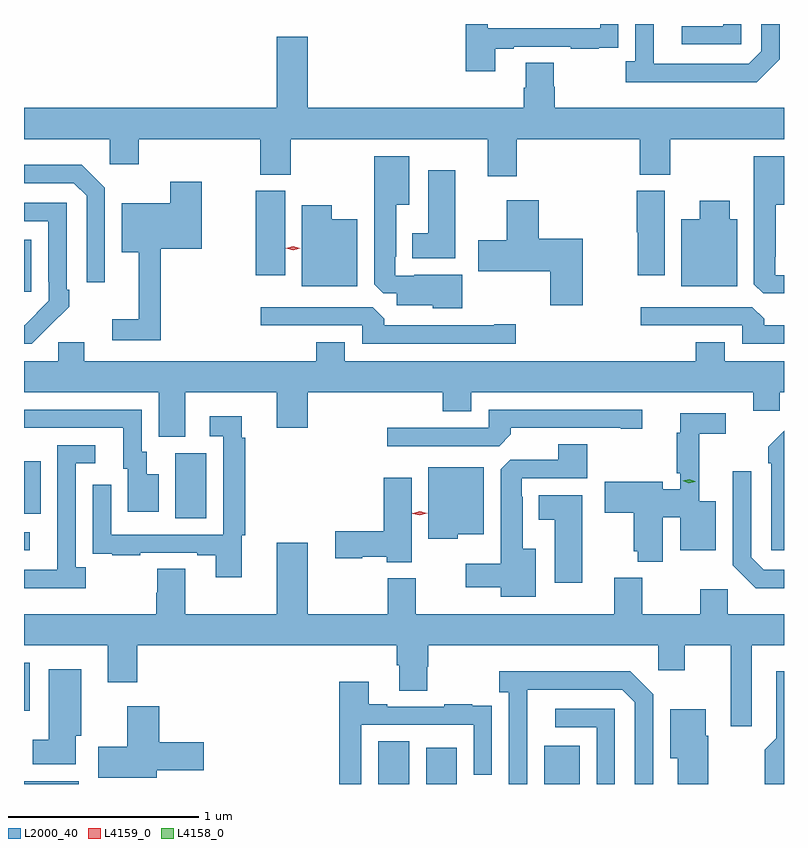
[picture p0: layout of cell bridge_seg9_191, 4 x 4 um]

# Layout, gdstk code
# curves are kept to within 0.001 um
import gdstk
lib = gdstk.Library(unit=1e-6, precision=1e-09)
def R(c, l, rs):  # rectangles x0, y0, x1, y1
    for r in rs: c.add(gdstk.rectangle(r[:2], r[2:], *l))
def P(c, l, *ps):  # polygons
    for p in ps: c.add(gdstk.Polygon(p, *l))
L2000_40 = (2000, 40)
L4158_0 = (4158, 0)
L4159_0 = (4159, 0)

bridge_seg9_191 = lib.new_cell('bridge_seg9_191')
R(bridge_seg9_191, L2000_40, [(211.63,1201.018,211.918,1201.032), (213.494,1201.018,213.658,1201.244), (213.746,1201.018,213.907,1201.21), (214.367,1201.018,214.555,1201.219), (211.63,1201.403,211.66,1201.657), (211.63,1202.247,211.66,1202.343), (212.426,1202.416,212.59,1202.76), (211.63,1202.441,211.717,1202.716), (211.63,1203.609,211.669,1203.883), (212.849,1203.696,213.004,1204.14)])
P(bridge_seg9_191, L2000_40, [(214.111,1204.887),(214.207,1204.887),(214.207,1204.899),(214.507,1204.899),(214.507,1204.887),(214.655,1204.887),(214.655,1204.893),(214.757,1204.893),(214.757,1205.002),(214.758,1205.002),(214.758,1205.018),(214.662,1205.018),(214.662,1204.995),(214.071,1204.995),(214.071,1205.018),(213.955,1205.018),(213.955,1204.77),(214.111,1204.77)],
  [(215.607,1204.833),(215.607,1205.018),(215.511,1205.018),(215.511,1204.875),(215.445,1204.809),(214.945,1204.809),(214.944,1205.018),(214.848,1205.018),(214.848,1204.822),(214.797,1204.822),(214.797,1204.712),(215.486,1204.712)],
  [(215.406,1205.018),(215.31,1205.018),(215.31,1205.007),(215.091,1205.007),(215.091,1204.911),(215.406,1204.911)],
  [(214.223,1204.412),(214.871,1204.412),(214.871,1204.225),(215.031,1204.225),(215.031,1204.412),(215.63,1204.412),(215.63,1204.576),(214.424,1204.576),(214.424,1204.689),(214.419,1204.689),(214.419,1204.814),(214.271,1204.814),(214.271,1204.682),(214.259,1204.682),(214.259,1204.576),(213.124,1204.576),(213.124,1204.951),(212.96,1204.951),(212.96,1204.576),(211.63,1204.576),(211.63,1204.412),(212.082,1204.412),(212.082,1204.281),(212.234,1204.281),(212.234,1204.412),(212.873,1204.412),(212.873,1204.225),(213.033,1204.225),(213.033,1204.412),(214.07,1204.412),(214.07,1204.218),(214.223,1204.218)],
  [(215.63,1203.696),(215.583,1203.696),(215.583,1203.793),(215.587,1203.793),(215.587,1204.067),(215.63,1204.067),(215.63,1204.321),(215.471,1204.321),(215.471,1203.649),(215.52,1203.6),(215.63,1203.6)],
  [(213.937,1203.697),(213.685,1203.697),(213.685,1203.693),(213.585,1203.693),(213.585,1203.793),(213.589,1203.793),(213.589,1204.067),(213.658,1204.067),(213.658,1204.321),(213.473,1204.321),(213.473,1203.649),(213.522,1203.6),(213.593,1203.6),(213.593,1203.539),(213.78,1203.539),(213.78,1203.521),(213.937,1203.521)],
  [(212.055,1204.155),(211.934,1204.276),(211.63,1204.276),(211.63,1204.179),(211.893,1204.179),(211.959,1204.113),(211.959,1203.66),(212.055,1203.66)],
  [(213.901,1204.249),(213.758,1204.249),(213.758,1203.916),(213.674,1203.916),(213.674,1203.785),(213.901,1203.785)],
  [(212.351,1203.836),(212.566,1203.836),(212.566,1204.189),(212.401,1204.189),(212.401,1204.075),(212.144,1204.075),(212.144,1203.818),(212.234,1203.818),(212.234,1203.463),(212.094,1203.463),(212.094,1203.354),(212.351,1203.354)],
  [(215.002,1204.14),(214.856,1204.14),(214.856,1203.921),(214.861,1203.921),(214.861,1203.696),(215.002,1203.696)],
  [(214.572,1203.889),(214.34,1203.889),(214.34,1204.09),(214.172,1204.09),(214.172,1203.879),(214.02,1203.879),(214.02,1203.716),(214.399,1203.716),(214.399,1203.537),(214.572,1203.537)],
  [(215.383,1203.991),(215.344,1203.991),(215.344,1204.087),(215.186,1204.087),(215.186,1203.991),(215.09,1203.991),(215.09,1203.638),(215.383,1203.638)],
  [(211.763,1203.427),(211.764,1203.426),(211.869,1203.531),(211.869,1203.619),(211.854,1203.619),(211.854,1204.077),(211.63,1204.077),(211.63,1203.981),(211.758,1203.981),(211.758,1203.661),(211.761,1203.661),(211.761,1203.561),(211.633,1203.433),(211.63,1203.433),(211.63,1203.336),(211.672,1203.336)],
  [(213.385,1203.991),(213.25,1203.991),(213.25,1204.063),(213.092,1204.063),(213.092,1203.638),(213.385,1203.638)],
  [(214.219,1203.437),(214.106,1203.437),(214.106,1203.432),(213.527,1203.432),(213.527,1203.466),(213.465,1203.528),(212.877,1203.528),(212.877,1203.432),(213.411,1203.432),(213.411,1203.336),(214.219,1203.336)],
  [(215.63,1203.432),(215.525,1203.432),(215.525,1203.466),(215.463,1203.528),(214.875,1203.528),(214.875,1203.432),(215.409,1203.432),(215.409,1203.336),(215.63,1203.336)],
  [(212.479,1203.08),(212.96,1203.08),(212.96,1202.892),(213.124,1202.892),(213.124,1203.08),(213.833,1203.08),(213.833,1202.981),(213.985,1202.981),(213.985,1203.08),(215.468,1203.08),(215.468,1202.982),(215.607,1202.982),(215.607,1203.08),(215.63,1203.08),(215.63,1203.244),(215.317,1203.244),(215.317,1203.343),(215.165,1203.343),(215.165,1203.244),(213.319,1203.244),(213.319,1203.343),(213.167,1203.343),(213.167,1203.244),(211.948,1203.244),(211.948,1203.342),(211.809,1203.342),(211.809,1203.244),(211.63,1203.244),(211.63,1203.08),(212.339,1203.08),(212.339,1202.845),(212.479,1202.845)],
  [(214.193,1202.858),(214.193,1202.892),(214.772,1202.892),(214.772,1202.887),(214.885,1202.887),(214.885,1202.988),(214.077,1202.988),(214.077,1202.892),(213.543,1202.892),(213.543,1202.796),(214.131,1202.796)],
  [(212.338,1202.647),(212.275,1202.647),(212.275,1202.766),(212.25,1202.766),(212.25,1202.988),(211.63,1202.988),(211.63,1202.892),(212.153,1202.892),(212.153,1202.676),(212.177,1202.676),(212.177,1202.451),(212.338,1202.451)],
  [(214.993,1202.423),(215.084,1202.423),(215.084,1202.249),(215.272,1202.249),(215.272,1202.506),(215.183,1202.506),(215.183,1202.862),(215.323,1202.862),(215.323,1202.97),(215.084,1202.97),(215.084,1202.867),(215.065,1202.867),(215.065,1202.653),(215.085,1202.653),(215.085,1202.57),(214.993,1202.57),(214.993,1202.608),(214.686,1202.608),(214.686,1202.446),(214.838,1202.446),(214.838,1202.243),(214.861,1202.243),(214.861,1202.189),(214.993,1202.189)],
  [(212.777,1202.328),(212.795,1202.328),(212.795,1202.84),(212.777,1202.84),(212.777,1202.953),(212.607,1202.953),(212.607,1202.847),(212.679,1202.847),(212.679,1202.331),(212.088,1202.331),(212.088,1202.593),(211.992,1202.593),(211.992,1202.338),(211.993,1202.338),(211.993,1202.229),(212.095,1202.229),(212.095,1202.223),(212.243,1202.223),(212.243,1202.235),(212.543,1202.235),(212.543,1202.223),(212.639,1202.223),(212.639,1202.106),(212.777,1202.106)],
  [(215.63,1202.876),(215.547,1202.793),(215.547,1202.705),(215.562,1202.705),(215.562,1202.247),(215.63,1202.247)],
  [(214.324,1202.257),(214.255,1202.257),(214.255,1202.531),(214.251,1202.531),(214.251,1202.628),(214.595,1202.628),(214.595,1202.807),(214.442,1202.807),(214.442,1202.724),(214.188,1202.724),(214.139,1202.675),(214.139,1202.176),(213.954,1202.176),(213.954,1202.054),(214.139,1202.054),(214.139,1202.003),(214.324,1202.003)],
  [(211.954,1202.158),(211.902,1202.158),(211.902,1202.706),(212.005,1202.706),(212.005,1202.802),(211.806,1202.802),(211.806,1202.345),(211.805,1202.345),(211.805,1202.145),(211.63,1202.145),(211.63,1202.048),(211.954,1202.048)],
  [(213.912,1202.333),(214.051,1202.333),(214.051,1202.686),(213.758,1202.686),(213.758,1202.309),(213.912,1202.309)],
  [(215.63,1202.145),(215.523,1202.145),(215.457,1202.211),(215.457,1202.665),(215.361,1202.665),(215.361,1202.169),(215.482,1202.048),(215.63,1202.048)],
  [(213.67,1202.629),(213.524,1202.629),(213.524,1202.348),(213.267,1202.348),(213.267,1202.206),(213.41,1202.206),(213.41,1202.213),(213.54,1202.213),(213.54,1202.186),(213.67,1202.186)],
  [(214.567,1202.539),(214.34,1202.539),(214.34,1202.408),(214.424,1202.408),(214.424,1202.076),(214.567,1202.076)],
  [(215.461,1201.748),(215.63,1201.748),(215.63,1201.912),(215.334,1201.912),(215.334,1202.044),(215.188,1202.044),(215.188,1201.912),(214.884,1201.912),(214.884,1202.104),(214.736,1202.104),(214.736,1201.912),(213.691,1201.912),(213.691,1202.101),(213.544,1202.101),(213.544,1201.912),(213.124,1201.912),(213.124,1202.287),(212.96,1202.287),(212.96,1201.912),(212.479,1201.912),(212.479,1202.15),(212.332,1202.15),(212.332,1202.025),(212.327,1202.025),(212.327,1201.912),(211.63,1201.912),(211.63,1201.748),(212.072,1201.748),(212.072,1201.554),(212.225,1201.554),(212.225,1201.748),(213.593,1201.748),(213.593,1201.642),(213.605,1201.642),(213.605,1201.51),(213.753,1201.51),(213.753,1201.635),(213.758,1201.635),(213.758,1201.748),(214.968,1201.748),(214.968,1201.617),(215.107,1201.617),(215.107,1201.748),(215.351,1201.748),(215.351,1201.323),(215.461,1201.323)],
  [(211.903,1201.272),(211.93,1201.272),(211.93,1201.621),(211.76,1201.621),(211.76,1201.252),(211.676,1201.252),(211.676,1201.121),(211.903,1201.121)],
  [(214.278,1201.315),(214.279,1201.515),(214.779,1201.515),(214.845,1201.449),(214.845,1201.018),(214.941,1201.018),(214.941,1201.491),(214.82,1201.612),(214.131,1201.612),(214.131,1201.502),(214.182,1201.502),(214.182,1201.018),(214.278,1201.018)],
  [(215.63,1201.612),(215.588,1201.612),(215.588,1201.258),(215.528,1201.199),(215.528,1201.018),(215.63,1201.018)],
  [(213.405,1201.329),(213.996,1201.329),(213.996,1201.068),(214.092,1201.068),(214.092,1201.322),(214.091,1201.322),(214.091,1201.431),(213.989,1201.431),(213.989,1201.438),(213.841,1201.438),(213.841,1201.425),(213.541,1201.425),(213.541,1201.438),(213.445,1201.438),(213.445,1201.555),(213.289,1201.555),(213.289,1201.018),(213.405,1201.018)],
  [(212.329,1201.091),(212.575,1201.091),(212.575,1201.238),(212.342,1201.238),(212.342,1201.426),(212.174,1201.426),(212.174,1201.215),(212.022,1201.215),(212.022,1201.052),(212.329,1201.052)],
  [(214.74,1201.413),(214.425,1201.413),(214.425,1201.317),(214.644,1201.317),(214.644,1201.018),(214.74,1201.018)],
  [(215.23,1201.272),(215.218,1201.272),(215.218,1201.411),(215.03,1201.411),(215.03,1201.154),(215.072,1201.154),(215.072,1201.018),(215.23,1201.018)])
P(bridge_seg9_191, L4158_0, [(215.129,1202.602),(215.097,1202.614),(215.097,1202.614),(215.097,1202.614),(215.131,1202.622),(215.163,1202.611),(215.163,1202.61),(215.163,1202.61)])
P(bridge_seg9_191, L4159_0, [(213.713,1202.433),(213.675,1202.441),(213.674,1202.442),(213.675,1202.442),(213.713,1202.453),(213.752,1202.444),(213.752,1202.444),(213.752,1202.443)],
  [(213.046,1203.828),(213.008,1203.837),(213.008,1203.838),(213.008,1203.838),(213.046,1203.848),(213.084,1203.838),(213.085,1203.838),(213.084,1203.838)])

lib.write_gds('bridge_seg9_191.gds')
